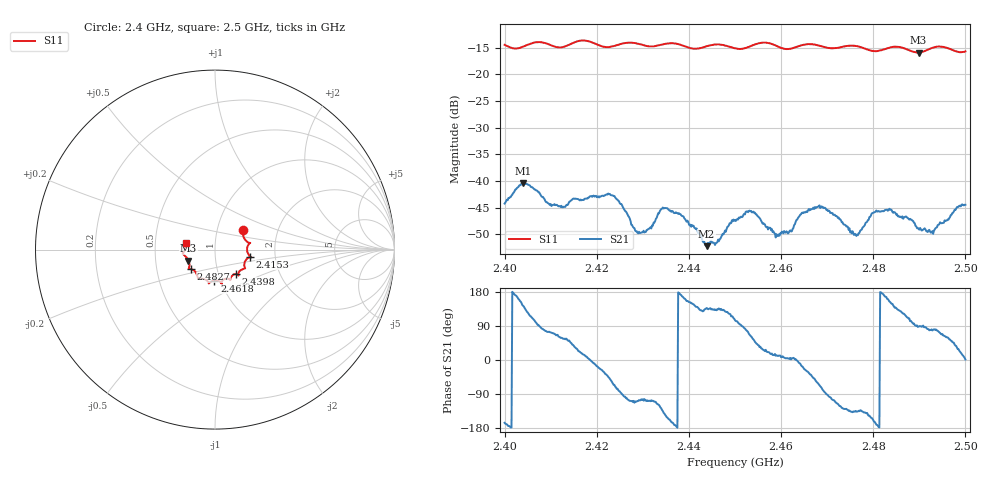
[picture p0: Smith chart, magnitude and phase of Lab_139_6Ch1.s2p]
# Hz S RI R 50
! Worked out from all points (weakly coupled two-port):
!   601 points, 2.4 GHz to 2.5 GHz, reference 50 ohm
!   highest |S21| = -40.42 dB at 2.404 GHz (marker M1); lowest = -52.2 dB at 2.4438 GHz (marker M2)
!   lowest |S11| = -15.9 dB at 2.4898 GHz (marker M3), VSWR 1.38, Z = 36.9 - j4.63 ohm
!   |S11| at or under -10 dB: start of sweep to end of sweep
!   S12 and S22 are empty: the file has one direction only
!   S11 on the Smith chart (normalised r, x): 2.4 GHz: 1.33, +0.30; 2.4153 GHz: 1.48, -0.12; 2.4398 GHz: 1.21, -0.34; 2.4618 GHz: 0.94, -0.33; 2.4827 GHz: 0.75, -0.17; 2.5 GHz: 0.72, +0.06
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2.4e9  0.1552 0.1073  -0.00594 -0.0015  0 0  0 0
2.404e9  0.1747 0.0474  -0.00764 0.0057  0 0  0 0
2.41e9  0.1857 0.0264  0.00181 0.00579  0 0  0 0
2.415333e9  0.1964 -0.0393  0.00571 0.00372  0 0  0 0
2.416667e9  0.2023 -0.0431  0.00625 0.00207  0 0  0 0
2.423333e9  0.1628 -0.0809  0.00379 -0.00627  0 0  0 0
2.429333e9  0.1588 -0.1074  -0.000921 -0.00312  0 0  0 0
2.433333e9  0.1295 -0.1338  -0.0023 -0.00441  0 0  0 0
2.439833e9  0.1154 -0.1354  -0.00373 0.00177  0 0  0 0
2.443833e9  0.0857 -0.1616  -0.00178 0.00167  0 0  0 0
2.45e9  0.0656 -0.1623  -0.00112 0.00416  0 0  0 0
2.4535e9  0.0367 -0.1806  0.00243 0.00463  0 0  0 0
2.459e9  0.0309 -0.1817  0.0031 0.000674  0 0  0 0
2.461833e9  -0.00327 -0.1727  0.00338 0.000164  0 0  0 0
2.466667e9  -0.0348 -0.1882  0.004 -0.00366  0 0  0 0
2.469167e9  -0.0411 -0.176  0.00093 -0.00557  0 0  0 0
2.476167e9  -0.0958 -0.1573  -0.00222 -0.00226  0 0  0 0
2.482667e9  -0.135 -0.1083  -0.00519 0.00121  0 0  0 0
2.483333e9  -0.1401 -0.1078  -0.00495 0.002  0 0  0 0
2.489833e9  -0.1477 -0.0611  0.000124 0.00353  0 0  0 0
2.492833e9  -0.1746 -0.0276  0.000714 0.00331  0 0  0 0
2.5e9  -0.159 0.0386  0.00597 0.000164  0 0  0 0
